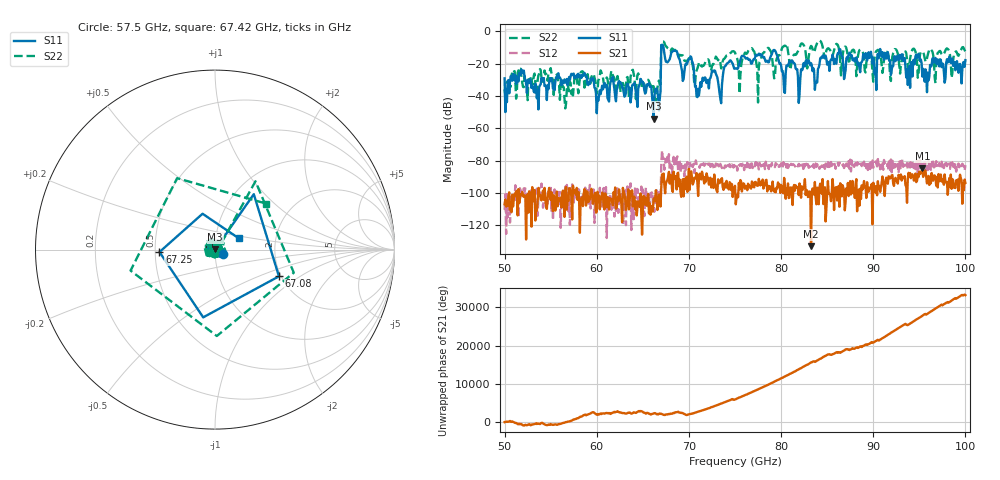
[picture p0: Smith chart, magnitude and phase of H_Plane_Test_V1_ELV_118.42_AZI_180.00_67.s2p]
! 11/27/2026 8:46:38 AM
! C:\ANRITSUVNA\TEMP\TEMP.S2P
! CHANNEL.1
! TR.MEASUREMENT
! RAW.DATA
# HZ S RI R 50.0
! FREQ.HZ  S11RE  S11IM  S21RE  S21IM  S12RE  S12IM  S22RE  S22IM
!; PortSelection: Port_12
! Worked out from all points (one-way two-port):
!   601 points, 50 GHz to 100 GHz, reference 50 ohm
!   highest |S21| = -84.79 dB at 95.33 GHz (marker M1); lowest = -133.0 dB at 83.25 GHz (marker M2)
!   lowest |S11| = -54.0 dB at 66.17 GHz (marker M3), VSWR 1.00, Z = 50.1 + j0.144 ohm
!   |S11| at or under -10 dB: start of sweep to 67 GHz; 67.24 GHz to end of sweep
!   |S22| runs from -47.7 to -5.6 dB; largest |S21 - S12| = 0.00018
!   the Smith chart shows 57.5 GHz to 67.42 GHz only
!   S11 on the Smith chart (normalised r, x): 57.5 GHz: 1.09, -0.05; 67.08 GHz: 1.95, -0.68; 67.25 GHz: 0.53, -0.02; 67.42 GHz: 1.29, +0.17
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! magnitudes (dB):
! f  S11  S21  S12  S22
! 50 GHz  -29.0  -107.1  -110.6  -35.8
! 51.67 GHz  -26.2  -103.4  -97.1  -23.2
! 53.42 GHz  -34.8  -110.7  -98.9  -35.4
! 57.5 GHz  -26.1  -100.0  -106.1  -34.5
! 58.42 GHz  -27.1  -102.6  -104.9  -24.7
! 60.17 GHz  -42.9  -103.2  -104.5  -30.2
! 66.17 GHz  -54.0  -103.7  -109.3  -34.0
! 66.67 GHz  -41.8  -104.7  -104.3  -31.6
! 67.08 GHz  -8.3  -88.6  -73.6  -6.8
! 67.25 GHz  -10.2  -88.0  -78.4  -6.3
! 67.42 GHz  -16.7  -100.2  -81.9  -8.3
! 70.25 GHz  -16.0  -86.7  -82.9  -18.8
! 70.92 GHz  -40.7  -93.6  -81.8  -23.0
! 75 GHz  -23.1  -95.6  -84.2  -13.0
! 77.58 GHz  -13.8  -91.3  -85.5  -22.1
! 79.33 GHz  -11.8  -97.5  -84.1  -28.7
! 80.25 GHz  -28.0  -100.3  -80.9  -9.3
! 83.25 GHz  -19.6  -133.0  -82.2  -9.0
! 83.42 GHz  -24.6  -97.3  -83.7  -10.9
! 91.67 GHz  -16.7  -89.7  -86.1  -15.3
! 95.33 GHz  -28.0  -84.8  -82.9  -12.4
! 100 GHz  -17.8  -93.8  -82.9  -12.6
